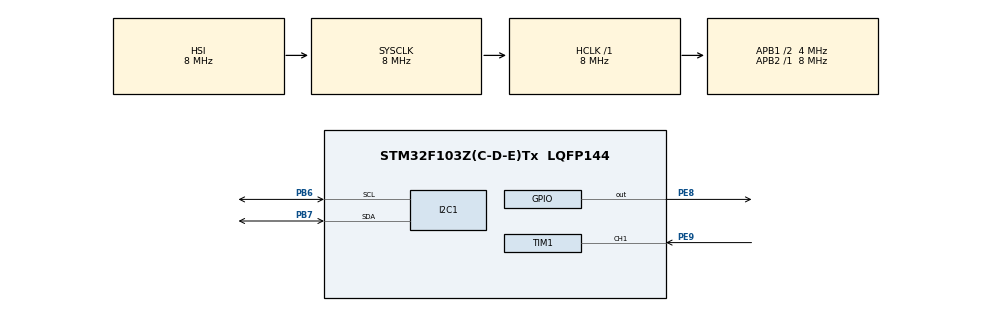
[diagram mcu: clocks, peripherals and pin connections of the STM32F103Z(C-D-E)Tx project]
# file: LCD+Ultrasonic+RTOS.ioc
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FREERTOS.Tasks01=defaultTask,0,128,StartDefaultTask,Default,NULL,Dynamic,NULL,NULL
I2C1.I2C_Mode=I2C_Fast
Mcu.Family=STM32F1
Mcu.Name=STM32F103Z(C-D-E)Tx
Mcu.Package=LQFP144
NVIC.PriorityGroup=NVIC_PRIORITYGROUP_4
NVIC.TIM1_CC_IRQn=true\:5\:0\:false\:false\:true\:true\:true\:true\:true
NVIC.TIM7_IRQn=true\:15\:0\:false\:false\:true\:false\:false\:true\:true
NVIC.TimeBase=TIM7_IRQn
NVIC.TimeBaseIP=TIM7
OSC_IN.Mode=HSE-External-Oscillator
OSC_IN.Signal=RCC_OSC_IN
OSC_OUT.Mode=HSE-External-Oscillator
OSC_OUT.Signal=RCC_OSC_OUT
PA13.Mode=Serial_Wire
PA13.Signal=SYS_JTMS-SWDIO
PA14.Mode=Serial_Wire
PA14.Signal=SYS_JTCK-SWCLK
PB6.Mode=I2C
PB6.Signal=I2C1_SCL
PB7.Mode=I2C
PB7.Signal=I2C1_SDA
PE8.Signal=GPIO_Output
PE9.Signal=S_TIM1_CH1
ProjectManager.HeapSize=0x200
ProjectManager.StackSize=0x400
ProjectManager.TargetToolchain=MDK-ARM V5.32
RCC.AHBFreq_Value=8000000
RCC.APB1CLKDivider=RCC_HCLK_DIV2
RCC.APB1Freq_Value=4000000
RCC.APB1TimFreq_Value=8000000
RCC.APB2Freq_Value=8000000
RCC.APB2TimFreq_Value=8000000
RCC.HCLKFreq_Value=8000000
RCC.PLLMUL=RCC_PLL_MUL9
RCC.PLLSourceVirtual=RCC_PLLSOURCE_HSE
RCC.SYSCLKFreq_VALUE=8000000
RCC.USBFreq_Value=72000000
SH.S_TIM1_CH1.0=TIM1_CH1,Input_Capture1_from_TI1
TIM1.Channel-Input_Capture1_from_TI1=TIM_CHANNEL_1
TIM1.Period=0xffff
TIM1.Prescaler=7
VP_FREERTOS_VS_CMSIS_V1.Mode=CMSIS_V1
VP_SYS_VS_tim7.Mode=TIM7
board=custom

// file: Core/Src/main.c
/* USER CODE BEGIN Header */
/**
  ******************************************************************************
  * @file           : main.c
  * @brief          : Main program body
  ******************************************************************************

  */
/* USER CODE END Header */
#include "main.h"
#include "cmsis_os.h"

/* USER CODE BEGIN Includes */
#include <stdio.h>
#include "stm32f1xx_hal.h"
#include "ssd1306.h"
#include "fonts.h"
/* USER CODE END Includes */

/* USER CODE BEGIN PD */
uint32_t IC_Val1 = 0;
uint32_t IC_Val2 = 0;
uint32_t Difference = 0;
uint8_t Is_First_Captured = 0;  // is the first value captured ?
float Distance  = 0;

#define ECHO_PIN  GPIO_PIN_9
#define ECHO_PORT GPIOE

#define TRIG_PIN  GPIO_PIN_8
#define TRIG_PORT GPIOE

QueueHandle_t xdistanceQueue;

/* USER CODE END PD */

I2C_HandleTypeDef hi2c1;

TIM_HandleTypeDef htim1;

osThreadId defaultTaskHandle;

void SystemClock_Config(void);
static void MX_GPIO_Init(void);
static void MX_I2C1_Init(void);
static void MX_TIM1_Init(void);
void StartDefaultTask(void const * argument);

/* USER CODE BEGIN 0 */
//  the callback function

void HAL_TIM_IC_CaptureCallback(TIM_HandleTypeDef *htim)
{
	if (htim->Channel == HAL_TIM_ACTIVE_CHANNEL_1)  // if the interrupt source is channel1
	{
		if (Is_First_Captured==0) // if the first value is not captured
		{
			IC_Val1 = HAL_TIM_ReadCapturedValue(htim, TIM_CHANNEL_1); // read the first value
			Is_First_Captured = 1;  // set the first captured as true
			// Now change the polarity to falling edge
			__HAL_TIM_SET_CAPTUREPOLARITY(htim, TIM_CHANNEL_1, TIM_INPUTCHANNELPOLARITY_FALLING);
		}

		else if (Is_First_Captured==1)   // if the first is already captured
		{
			IC_Val2 = HAL_TIM_ReadCapturedValue(htim, TIM_CHANNEL_1);  // read second value
			__HAL_TIM_SET_COUNTER(htim, 0);  // reset the counter

			if (IC_Val2 > IC_Val1)
			{
				Difference = IC_Val2-IC_Val1;
			}

			else if (IC_Val1 > IC_Val2)
			{
				Difference = (0xffff - IC_Val1) + IC_Val2;
			}

			Distance = Difference  / 58.0; // Standard formula from HC-SR04 datasheet for cm;With timer running at 1MHz (1µs per tick)
			Is_First_Captured = 0; // set it back to false

			// set polarity to rising edge
			__HAL_TIM_SET_CAPTUREPOLARITY(htim, TIM_CHANNEL_1, TIM_INPUTCHANNELPOLARITY_RISING);
			__HAL_TIM_DISABLE_IT(&htim1, TIM_IT_CC1);
		}
	}
}

void HCSR04_Read(void)
{
    // First ensure the echo line is not already active
    if (HAL_GPIO_ReadPin(ECHO_PORT, ECHO_PIN) == GPIO_PIN_RESET) {
        // Reset the first captured flag
        Is_First_Captured = 0;

        // Generate 10 s trigger pulse
        HAL_GPIO_WritePin(TRIG_PORT, TRIG_PIN, GPIO_PIN_SET);  // pull the TRIG pin HIGH
        // Use HAL_Delay for microsecond precision instead of vTaskDelay
        // Or better yet, use a precise microsecond delay if available
        for(uint16_t i=0; i<80; i++) {
            __NOP(); // Each NOP is one CPU cycle
}
        HAL_GPIO_WritePin(TRIG_PORT, TRIG_PIN, GPIO_PIN_RESET);  // pull the TRIG pin low

        // Enable interrupt for echo pin
        __HAL_TIM_ENABLE_IT(&htim1, TIM_IT_CC1);
    }
}

void ultrasonicTask(void *pvParameters) {
    float distance; // Local variable to store the distance

    while (1) {
        HCSR04_Read(); // Trigger the sensor reading
        vTaskDelay(pdMS_TO_TICKS(60)); // Wait for the measurement to complete (adjust as needed)

        // Copy the global distance to the local variable for queue safety
        distance = Distance;

        if (distance !=0) {

				xQueueSend(xdistanceQueue, &distance, 0);

        }

        vTaskDelay(pdMS_TO_TICKS(100)); // Delay between readings
    }
}

void lcdTask(void *pvParameters) {
    float distance;
    char distanceStr[16];  // Buffer to hold distance string

    while (1) {
        // Try to receive distance from the queue
        if (xdistanceQueue != NULL) {
            if (xQueueReceive(xdistanceQueue, &distance, 0) == pdTRUE) {
                // Clear the display
                SSD1306_Clear();

                // Convert distance to string
                snprintf(distanceStr, sizeof(distanceStr), "Distance: %.1f cm", distance);

                // Set cursor to initial position
                SSD1306_GotoXY(7, 30);

                // Display the distance string
                SSD1306_Puts(distanceStr, &Font_7x10, SSD1306_COLOR_WHITE);

                // Update the screen
                SSD1306_UpdateScreen();
            }
        }

        // Small delay to prevent overwhelming the display
        vTaskDelay(pdMS_TO_TICKS(50));
    }
}

/* USER CODE END 0 */

int main(void)
{

  /* MCU Configuration--------------------------------------------------------*/

  /* Reset of all peripherals, Initializes the Flash interface and the Systick. */
  HAL_Init();

  /* Configure the system clock */
  SystemClock_Config();

  /* Initialize all configured peripherals */
  MX_GPIO_Init();
  MX_I2C1_Init();
  MX_TIM1_Init();
	SSD1306_Init();
	HAL_TIM_IC_Start_IT(&htim1, TIM_CHANNEL_1);
  /* USER CODE BEGIN 2 */

  SSD1306_GotoXY (0,0);
  SSD1306_Puts ("Hi", &Font_11x18, 1);
  SSD1306_GotoXY (0, 30);
  SSD1306_Puts ("User", &Font_11x18, 1);
  SSD1306_UpdateScreen();
  HAL_Delay (5000);

  /* USER CODE END 2 */

  /* USER CODE BEGIN RTOS_QUEUES */
  /* add queues, ... */
 xdistanceQueue = xQueueCreate(10, sizeof(float));
  /* USER CODE END RTOS_QUEUES */

  /* Create the thread(s) */
  /* definition and creation of defaultTask */
osThreadDef(ultrasonicTask, ultrasonicTask, osPriorityNormal, 0, 128);
osThreadDef(lcdTask, lcdTask, osPriorityNormal, 0, 128);

osThreadCreate(osThread(ultrasonicTask), NULL);
osThreadCreate(osThread(lcdTask), NULL);

  /* Start scheduler */
  osKernelStart();

  /* We should never get here as control is now taken by the scheduler */

  /* Infinite loop */
  while (1)
  {

  }
}

void SystemClock_Config(void)
{
  RCC_OscInitTypeDef RCC_OscInitStruct = {0};
  RCC_ClkInitTypeDef RCC_ClkInitStruct = {0};

  /** Initializes the RCC Oscillators according to the specified parameters
  * in the RCC_OscInitTypeDef structure.
  */
  RCC_OscInitStruct.OscillatorType = RCC_OSCILLATORTYPE_HSI;
  RCC_OscInitStruct.HSIState = RCC_HSI_ON;
  RCC_OscInitStruct.HSICalibrationValue = RCC_HSICALIBRATION_DEFAULT;
  RCC_OscInitStruct.PLL.PLLState = RCC_PLL_NONE;
  if (HAL_RCC_OscConfig(&RCC_OscInitStruct) != HAL_OK)
  {
    Error_Handler();
  }

  /** Initializes the CPU, AHB and APB buses clocks
  */
  RCC_ClkInitStruct.ClockType = RCC_CLOCKTYPE_HCLK|RCC_CLOCKTYPE_SYSCLK
                              |RCC_CLOCKTYPE_PCLK1|RCC_CLOCKTYPE_PCLK2;
  RCC_ClkInitStruct.SYSCLKSource = RCC_SYSCLKSOURCE_HSI;
  RCC_ClkInitStruct.AHBCLKDivider = RCC_SYSCLK_DIV1;
  RCC_ClkInitStruct.APB1CLKDivider = RCC_HCLK_DIV2;
  RCC_ClkInitStruct.APB2CLKDivider = RCC_HCLK_DIV1;

  if (HAL_RCC_ClockConfig(&RCC_ClkInitStruct, FLASH_LATENCY_0) != HAL_OK)
  {
    Error_Handler();
  }
}

static void MX_I2C1_Init(void)
{

  hi2c1.Instance = I2C1;
  hi2c1.Init.ClockSpeed = 400000;
  hi2c1.Init.DutyCycle = I2C_DUTYCYCLE_2;
  hi2c1.Init.OwnAddress1 = 0;
  hi2c1.Init.AddressingMode = I2C_ADDRESSINGMODE_7BIT;
  hi2c1.Init.DualAddressMode = I2C_DUALADDRESS_DISABLE;
  hi2c1.Init.OwnAddress2 = 0;
  hi2c1.Init.GeneralCallMode = I2C_GENERALCALL_DISABLE;
  hi2c1.Init.NoStretchMode = I2C_NOSTRETCH_DISABLE;
  if (HAL_I2C_Init(&hi2c1) != HAL_OK)
  {
    Error_Handler();
  }

}

static void MX_TIM1_Init(void)
{

  TIM_MasterConfigTypeDef sMasterConfig = {0};
  TIM_IC_InitTypeDef sConfigIC = {0};

  htim1.Instance = TIM1;
  htim1.Init.Prescaler = 7;
  htim1.Init.CounterMode = TIM_COUNTERMODE_UP;
  htim1.Init.Period = 0xffff;
  htim1.Init.ClockDivision = TIM_CLOCKDIVISION_DIV1;
  htim1.Init.RepetitionCounter = 0;
  htim1.Init.AutoReloadPreload = TIM_AUTORELOAD_PRELOAD_DISABLE;
  if (HAL_TIM_IC_Init(&htim1) != HAL_OK)
  {
    Error_Handler();
  }
  sMasterConfig.MasterOutputTrigger = TIM_TRGO_RESET;
  sMasterConfig.MasterSlaveMode = TIM_MASTERSLAVEMODE_DISABLE;
  if (HAL_TIMEx_MasterConfigSynchronization(&htim1, &sMasterConfig) != HAL_OK)
  {
    Error_Handler();
  }
  sConfigIC.ICPolarity = TIM_INPUTCHANNELPOLARITY_RISING;
  sConfigIC.ICSelection = TIM_ICSELECTION_DIRECTTI;
  sConfigIC.ICPrescaler = TIM_ICPSC_DIV1;
  sConfigIC.ICFilter = 0;
  if (HAL_TIM_IC_ConfigChannel(&htim1, &sConfigIC, TIM_CHANNEL_1) != HAL_OK)
  {
    Error_Handler();
  }

}

static void MX_GPIO_Init(void)
{
  GPIO_InitTypeDef GPIO_InitStruct = {0};

  /* GPIO Ports Clock Enable */
  __HAL_RCC_GPIOE_CLK_ENABLE();
  __HAL_RCC_GPIOA_CLK_ENABLE();
  __HAL_RCC_GPIOB_CLK_ENABLE();

  /*Configure GPIO pin Output Level */
  HAL_GPIO_WritePin(GPIOE, GPIO_PIN_8, GPIO_PIN_RESET);

  /*Configure GPIO pin : PE8 */
  GPIO_InitStruct.Pin = GPIO_PIN_8;
  GPIO_InitStruct.Mode = GPIO_MODE_OUTPUT_PP;
  GPIO_InitStruct.Pull = GPIO_NOPULL;
  GPIO_InitStruct.Speed = GPIO_SPEED_FREQ_LOW;
  HAL_GPIO_Init(GPIOE, &GPIO_InitStruct);

}

void StartDefaultTask(void const * argument)
{
  for(;;)
  {
    osDelay(1);
  }
}

void HAL_TIM_PeriodElapsedCallback(TIM_HandleTypeDef *htim)
{
  if (htim->Instance == TIM7) {
    HAL_IncTick();
  }
}

void Error_Handler(void)
{
  __disable_irq();
  while (1)
  {
  }
}
